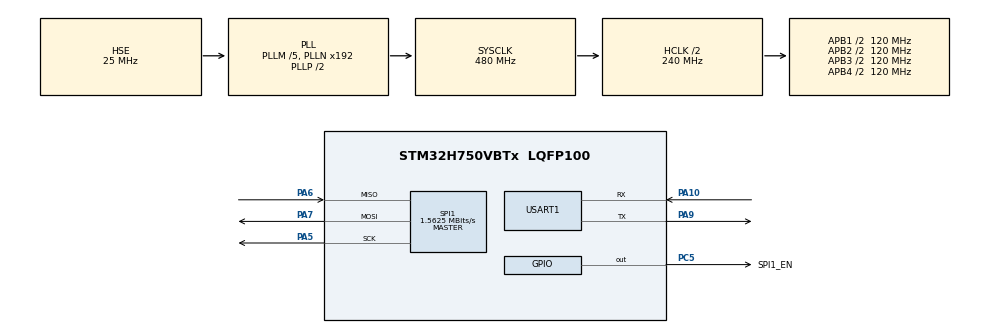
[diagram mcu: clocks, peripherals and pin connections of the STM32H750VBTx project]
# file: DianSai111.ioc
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Dma.Request0=USART1_RX
Dma.Request1=USART1_TX
Dma.USART1_RX.0.Direction=DMA_PERIPH_TO_MEMORY
Dma.USART1_RX.0.EventEnable=DISABLE
Dma.USART1_RX.0.FIFOMode=DMA_FIFOMODE_DISABLE
Dma.USART1_RX.0.Instance=DMA1_Stream0
Dma.USART1_RX.0.MemDataAlignment=DMA_MDATAALIGN_BYTE
Dma.USART1_RX.0.MemInc=DMA_MINC_ENABLE
Dma.USART1_RX.0.Mode=DMA_NORMAL
Dma.USART1_RX.0.PeriphDataAlignment=DMA_PDATAALIGN_BYTE
Dma.USART1_RX.0.PeriphInc=DMA_PINC_DISABLE
Dma.USART1_RX.0.Polarity=HAL_DMAMUX_REQ_GEN_RISING
Dma.USART1_RX.0.Priority=DMA_PRIORITY_LOW
Dma.USART1_RX.0.RequestNumber=1
Dma.USART1_RX.0.SignalID=NONE
Dma.USART1_RX.0.SyncEnable=DISABLE
Dma.USART1_RX.0.SyncPolarity=HAL_DMAMUX_SYNC_NO_EVENT
Dma.USART1_RX.0.SyncRequestNumber=1
Dma.USART1_RX.0.SyncSignalID=NONE
Dma.USART1_TX.1.Direction=DMA_MEMORY_TO_PERIPH
Dma.USART1_TX.1.EventEnable=DISABLE
Dma.USART1_TX.1.FIFOMode=DMA_FIFOMODE_DISABLE
Dma.USART1_TX.1.Instance=DMA1_Stream1
Dma.USART1_TX.1.MemDataAlignment=DMA_MDATAALIGN_BYTE
Dma.USART1_TX.1.MemInc=DMA_MINC_ENABLE
Dma.USART1_TX.1.Mode=DMA_NORMAL
Dma.USART1_TX.1.PeriphDataAlignment=DMA_PDATAALIGN_BYTE
Dma.USART1_TX.1.PeriphInc=DMA_PINC_DISABLE
Dma.USART1_TX.1.Polarity=HAL_DMAMUX_REQ_GEN_RISING
Dma.USART1_TX.1.Priority=DMA_PRIORITY_LOW
Dma.USART1_TX.1.RequestNumber=1
Dma.USART1_TX.1.SignalID=NONE
Dma.USART1_TX.1.SyncEnable=DISABLE
Dma.USART1_TX.1.SyncPolarity=HAL_DMAMUX_SYNC_NO_EVENT
Dma.USART1_TX.1.SyncRequestNumber=1
Dma.USART1_TX.1.SyncSignalID=NONE
Mcu.Family=STM32H7
Mcu.Name=STM32H750VBTx
Mcu.Package=LQFP100
NVIC.DMA1_Stream0_IRQn=true\:14\:0\:true\:false\:true\:false\:true\:true
NVIC.DMA1_Stream1_IRQn=true\:0\:0\:false\:false\:true\:false\:true\:true
NVIC.PriorityGroup=NVIC_PRIORITYGROUP_4
NVIC.USART1_IRQn=true\:0\:0\:false\:false\:true\:true\:true\:true
PA10.Mode=Asynchronous
PA10.Signal=USART1_RX
PA13\ (JTMS/SWDIO).Mode=Serial_Wire
PA13\ (JTMS/SWDIO).Signal=DEBUG_JTMS-SWDIO
PA14\ (JTCK/SWCLK).Mode=Serial_Wire
PA14\ (JTCK/SWCLK).Signal=DEBUG_JTCK-SWCLK
PA5.Mode=Full_Duplex_Master
PA5.Signal=SPI1_SCK
PA6.Mode=Full_Duplex_Master
PA6.Signal=SPI1_MISO
PA7.Mode=Full_Duplex_Master
PA7.Signal=SPI1_MOSI
PA9.Mode=Asynchronous
PA9.Signal=USART1_TX
PC5.GPIO_Label=SPI1_EN
PC5.GPIO_PuPd=GPIO_PULLUP
PC5.GPIO_Speed=GPIO_SPEED_FREQ_LOW
PC5.PinState=GPIO_PIN_SET
PC5.Signal=GPIO_Output
PH0-OSC_IN\ (PH0).Mode=HSE-External-Oscillator
PH0-OSC_IN\ (PH0).Signal=RCC_OSC_IN
PH1-OSC_OUT\ (PH1).Mode=HSE-External-Oscillator
PH1-OSC_OUT\ (PH1).Signal=RCC_OSC_OUT
ProjectManager.HeapSize=0x200
ProjectManager.StackSize=0x400
ProjectManager.TargetToolchain=MDK-ARM V5.32
RCC.ADCFreq_Value=100000000
RCC.APB1Freq_Value=120000000
RCC.APB2Freq_Value=120000000
RCC.APB3Freq_Value=120000000
RCC.APB4Freq_Value=120000000
RCC.CortexFreq_Value=480000000
RCC.D1PPRE=RCC_APB3_DIV2
RCC.D2PPRE1=RCC_APB1_DIV2
RCC.D2PPRE2=RCC_APB2_DIV2
RCC.D3PPRE=RCC_APB4_DIV2
RCC.DIVM1=5
RCC.DIVM2=16
RCC.DIVN1=192
RCC.DIVN2=128
RCC.HCLKFreq_Value=240000000
RCC.HPRE=RCC_HCLK_DIV2
RCC.PLL2FRACN=0
RCC.PLL3FRACN=0
RCC.PLLFRACN=0
RCC.PLLSourceVirtual=RCC_PLLSOURCE_HSE
RCC.SPI123CLockSelection=RCC_SPI123CLKSOURCE_PLL2
RCC.SYSCLKFreq_VALUE=480000000
RCC.SYSCLKSource=RCC_SYSCLKSOURCE_PLLCLK
RCC.USBFreq_Value=480000000
SPI1.BaudRatePrescaler=SPI_BAUDRATEPRESCALER_64
SPI1.CalculateBaudRate=1.5625 MBits/s
SPI1.DataSize=SPI_DATASIZE_16BIT
SPI1.Direction=SPI_DIRECTION_2LINES
SPI1.Mode=SPI_MODE_MASTER
SPI1.VirtualType=VM_MASTER
USART1.VirtualMode-Asynchronous=VM_ASYNC
VP_MEMORYMAP_VS_MEMORYMAP.Mode=CurAppReg
board=custom

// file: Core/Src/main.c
/* USER CODE BEGIN Header */
/**
  ******************************************************************************
  * @file           : main.c
  * @brief          : Main program body
  ******************************************************************************
  * @attention
  *
  * Copyright (c) 2025 STMicroelectronics.
  * All rights reserved.
  *
  * This software is licensed under terms that can be found in the LICENSE file
  * in the root directory of this software component.
  * If no LICENSE file comes with this software, it is provided AS-IS.
  *
  ******************************************************************************
  */
/* USER CODE END Header */
#include "main.h"

/* USER CODE BEGIN Includes */
#include "stdio.h"
#include "stdbool.h"
#include <string.h>

#include "invfreqs_stm32.c"
/* USER CODE END Includes */

SPI_HandleTypeDef hspi1;

UART_HandleTypeDef huart1;
DMA_HandleTypeDef hdma_usart1_rx;
DMA_HandleTypeDef hdma_usart1_tx;

void SystemClock_Config(void);
static void MX_GPIO_Init(void);
static void MX_DMA_Init(void);
static void MX_USART1_UART_Init(void);
static void MX_SPI1_Init(void);
/* USER CODE BEGIN PFP */

#define M_PI 3.14159265358979323846
/* USER CODE END PFP */

/* USER CODE BEGIN 0 */
double unwrap_deg(double deg1, double deg2) {
    double delta = deg2 - deg1;
    while (delta > 180.0) delta -= 360.0;
    while (delta < -180.0) delta += 360.0;
    return delta;
}

volatile uint8_t simulation_en = 0;
volatile double basic_freq;

// InvFreqs计算使用的数据
const double DAC_OUT_VPP = 3.7418;
const double ADC_IN_VPP = 4.04;
volatile uint16_t spi_data;

volatile double w[125];
volatile complex_double h[125];
// 幅频相频

volatile double amp_freq[125];
volatile double phase_freq[125];

volatile uint16_t invs_cnt = 0;   // 频响总数

volatile uint8_t UART_data_buf[100];

volatile int freq_out = 1000;
volatile float amp_out = 1.0f;

// 系统标定值
const float biaoding_values[30] = {
    0.206, 0.216, 0.229, 0.247, 0.269, 0.293, 0.320, 0.349, 0.380, 0.410,
    0.442, 0.476, 0.510, 0.546, 0.580, 0.610, 0.658, 0.697, 0.739, 0.780,
    0.810, 0.864, 0.907, 0.953, 1.0, 1.046, 1.094, 1.143, 1.191, 1.245
};

// 保存上一次的值
static int last_freq = 0;
static float last_amp = 0.0f;

// FPGA操作标志位
volatile bool freq_changed = false;    // 频率变化标志
volatile bool amp_changed = false;     // 幅值变化标志
volatile bool start_study_flag = false;// 启动学习标志

// 模式状态变量
volatile bool single_freq_output = false;  // 单频输出(a1)
volatile bool auto_gain_mode = false;   // 自动增益(b2)
volatile bool simulate_mode = false;    // 模仿模式(c3)

volatile bool single_freq_output_StatusChanged = false;  // 单频输出开关状态改变标志位
volatile bool auto_gain_mode_StatusChanged = false;   // 自动增益开关状态改变标志位
volatile bool simulate_mode_StatusChanged = false;    // 模仿模式开关状态改变标志位

void HAL_UARTEx_RxEventCallback(UART_HandleTypeDef *huart, uint16_t Size) {
    if (huart == &huart1) {
        // 1. 检测开始学习命令(AA AA AA AA)
        if (Size >= 4) {
            bool is_study_cmd = true;
            for (int i = 0; i < 4; i++) {
                if (UART_data_buf[i] != 0xAA) {
                    is_study_cmd = false;
                    break;
                }
            }
            if (is_study_cmd) {
                start_study_flag = true;
                memset(UART_data_buf, 0, 100);
                HAL_UARTEx_ReceiveToIdle_DMA(&huart1,UART_data_buf, 100);
                return;
            }
        }

        // 2. 检测模式控制命令(6字节固定格式)
        if (Size == 6) {
            // 单频输出控制(A1开头结尾)
            if (UART_data_buf[0] == 0xA1 && UART_data_buf[5] == 0xA1) {
                single_freq_output = (UART_data_buf[1] == 0x01);
                single_freq_output_StatusChanged=1;//标志位
            }
            // 自动增益控制(B2开头结尾)
            else if (UART_data_buf[0] == 0xB2 && UART_data_buf[5] == 0xB2) {
                auto_gain_mode = (UART_data_buf[1] == 0x01);
                auto_gain_mode_StatusChanged=1;//标志位
            }
            // 模仿模式控制(C3开头结尾)
            else if (UART_data_buf[0] == 0xC3 && UART_data_buf[5] == 0xC3) {
                simulate_mode = (UART_data_buf[1] == 0x01);
                simulate_mode_StatusChanged=1;//标志位
            }
        }

        // 3. 解析频率和幅值(保留原有AD帧头逻辑)
        int current_freq = 0;
        float current_amp = 0.0f;
        int decode_status = decode_uart(UART_data_buf, Size, &current_freq, &current_amp);

        if (decode_status == 1) {
            // 检测频率变化
            if (current_freq != last_freq) {
                freq_out = current_freq;
                last_freq = current_freq;
                freq_changed = true;
            }

            // 检测幅值变化
            if (fabs(current_amp - last_amp) > 0.05f) {
                amp_out = current_amp;
                last_amp = current_amp;
                amp_changed = true;
            }
        }

        // 重新启动DMA接收
        memset(UART_data_buf, 0, 100);
        HAL_UARTEx_ReceiveToIdle_DMA(&huart1, (uint8_t *)UART_data_buf, 100);
    }
}

// 发送模式状态到串口屏
void send_mode_status() {
    uint8_t buf[6];

    // 单频输出状态(A1 01/00 00 00 00 A1)
    buf[0] = 0xA1;
    buf[1] = single_freq_output ? 0x01 : 0x00;
    buf[2] = 0x00;
    buf[3] = 0x00;
    buf[4] = 0x00;
    buf[5] = 0xA1;
    HAL_UART_Transmit(&huart1, buf, 6, 10);

    // 自动增益状态(B2 01/00 00 00 00 B2)
    buf[0] = 0xB2;
    buf[1] = auto_gain_mode ? 0x01 : 0x00;
    buf[5] = 0xB2;
    HAL_UART_Transmit(&huart1, buf, 6, 10);

    // 模仿模式状态(C3 01/00 00 00 00 C3)
    buf[0] = 0xC3;
    buf[1] = simulate_mode ? 0x01 : 0x00;
    buf[5] = 0xC3;
    HAL_UART_Transmit(&huart1, buf, 6, 10);
}

int decode_uart(uint8_t *uart_buf, uint16_t buf_len, int *current_freq, float *current_amp) {
    if (uart_buf == NULL || current_freq == NULL || current_amp == NULL) {
        return 0;
    }

    // 保留原有AD帧头解析逻辑(频率和幅值)
    uint8_t ad_header[4] = {0xAD, 0xAD, 0xAD, 0xAD};
    if (buf_len >= 12) {
        for (uint16_t i = 0; i <= buf_len - 12; i++) {
            if (memcmp(&uart_buf[i], ad_header, 4) == 0) {
                // 解析频率(4字节小端)
                uint32_t freq_raw = (uint32_t)uart_buf[i+4] |
                                   ((uint32_t)uart_buf[i+5] << 8) |
                                   ((uint32_t)uart_buf[i+6] << 16) |
                                   ((uint32_t)uart_buf[i+7] << 24);

                // 解析幅值(4字节小端)
                uint32_t amp_raw = (uint32_t)uart_buf[i+8] |
                                  ((uint32_t)uart_buf[i+9] << 8) |
                                  ((uint32_t)uart_buf[i+10] << 16) |
                                  ((uint32_t)uart_buf[i+11] << 24);

                *current_freq = (int)freq_raw;
                *current_amp = (float)amp_raw / 10.0f;

                return 1;
            }
        }
    }

    return 0;
}

int send_data(const char* str_b0, const char* str_b1,
                          const char* str_b2, const char* str_a1, const char* str_a2) {
    uint8_t uart_send_buf[256];
    size_t buf_offset = 0;
    int write_len;

    write_len = sprintf((char*)(uart_send_buf + buf_offset), "para1.txt=\"b0=%s\"", str_b0);
    if (write_len < 0) return -2;
    buf_offset += write_len;
    if (buf_offset + 3 > sizeof(uart_send_buf)) return -2;
    uart_send_buf[buf_offset++] = 0xFF;
    uart_send_buf[buf_offset++] = 0xFF;
    uart_send_buf[buf_offset++] = 0xFF;

    write_len = sprintf((char*)(uart_send_buf + buf_offset), "para2.txt=\"b1=%s\"", str_b1);
    if (write_len < 0) return -2;
    buf_offset += write_len;
    if (buf_offset + 3 > sizeof(uart_send_buf)) return -2;
    uart_send_buf[buf_offset++] = 0xFF;
    uart_send_buf[buf_offset++] = 0xFF;
    uart_send_buf[buf_offset++] = 0xFF;

    write_len = sprintf((char*)(uart_send_buf + buf_offset), "para3.txt=\"b2=%s\"", str_b2);
    if (write_len < 0) return -2;
    buf_offset += write_len;
    if (buf_offset + 3 > sizeof(uart_send_buf)) return -2;
    uart_send_buf[buf_offset++] = 0xFF;
    uart_send_buf[buf_offset++] = 0xFF;
    uart_send_buf[buf_offset++] = 0xFF;

    write_len = sprintf((char*)(uart_send_buf + buf_offset), "para4.txt=\"a1=%s\"", str_a1);
    if (write_len < 0) return -2;
    buf_offset += write_len;
    if (buf_offset + 3 > sizeof(uart_send_buf)) return -2;
    uart_send_buf[buf_offset++] = 0xFF;
    uart_send_buf[buf_offset++] = 0xFF;
    uart_send_buf[buf_offset++] = 0xFF;

    write_len = sprintf((char*)(uart_send_buf + buf_offset), "para5.txt=\"a2=%s\"", str_a2);
    if (write_len < 0) return -2;
    buf_offset += write_len;
    if (buf_offset + 3 > sizeof(uart_send_buf)) return -2;
    uart_send_buf[buf_offset++] = 0xFF;
    uart_send_buf[buf_offset++] = 0xFF;
    uart_send_buf[buf_offset++] = 0xFF;

    if (HAL_UART_Transmit(&huart1, uart_send_buf, buf_offset, 1000) != HAL_OK) {
        return -3;
    }

    return 0;
}
/* USER CODE END 0 */

int main(void)
{

  /* MCU Configuration--------------------------------------------------------*/

  /* Reset of all peripherals, Initializes the Flash interface and the Systick. */
  HAL_Init();

  /* Configure the system clock */
  SystemClock_Config();

  /* Initialize all configured peripherals */
  MX_GPIO_Init();
  MX_DMA_Init();
  MX_USART1_UART_Init();
  MX_SPI1_Init();
  /* USER CODE BEGIN 2 */
  // 拉高使能引脚
  HAL_GPIO_WritePin(SPI1_EN_GPIO_Port, SPI1_EN_Pin, GPIO_PIN_SET);
  uint8_t simulation_mode_ready_quit = 0;
  /* USER CODE END 2 */

  /* Infinite loop */
  /* USER CODE BEGIN WHILE */

	HAL_UARTEx_ReceiveToIdle_DMA(&huart1,(uint8_t *)UART_data_buf,100);

  while (1)
  {
		// 在main函数中处理FPGA相关操作
    if (freq_changed || amp_changed || single_freq_output_StatusChanged || auto_gain_mode_StatusChanged) {
        // *************************** 通知FPGA单频输出变化 ***************************//
        // 开始通信
        spi_data = 0x0001;
        HAL_GPIO_WritePin(SPI1_EN_GPIO_Port, SPI1_EN_Pin, GPIO_PIN_RESET);
        HAL_SPI_Transmit(&hspi1, (uint8_t*)&spi_data, 1, HAL_MAX_DELAY);
        HAL_GPIO_WritePin(SPI1_EN_GPIO_Port, SPI1_EN_Pin, GPIO_PIN_SET);
        // 发送目标标志位和幅度信息
        spi_data = 0;
        double transfer_value = 1;
        if (auto_gain_mode) transfer_value = biaoding_values[freq_out/100-1];
        uint16_t fixed_point = (uint16_t)roundf(amp_out*transfer_value * (1 << 13));
        fixed_point &= 0x7FFF;
        spi_data = (single_freq_output ? 0x8000 : 0x0000) | fixed_point;
        HAL_GPIO_WritePin(SPI1_EN_GPIO_Port, SPI1_EN_Pin, GPIO_PIN_RESET);
        HAL_SPI_Transmit(&hspi1, (uint8_t*)&spi_data, 1, HAL_MAX_DELAY);
        HAL_GPIO_WritePin(SPI1_EN_GPIO_Port, SPI1_EN_Pin, GPIO_PIN_SET);
        // 发送目标频率信息
        spi_data = (uint16_t)(freq_out / 25);
        HAL_GPIO_WritePin(SPI1_EN_GPIO_Port, SPI1_EN_Pin, GPIO_PIN_RESET);
        HAL_SPI_Transmit(&hspi1, (uint8_t*)&spi_data, 1, HAL_MAX_DELAY);
        HAL_GPIO_WritePin(SPI1_EN_GPIO_Port, SPI1_EN_Pin, GPIO_PIN_SET);
        // 结束通信
        spi_data = 0x0000;
        HAL_GPIO_WritePin(SPI1_EN_GPIO_Port, SPI1_EN_Pin, GPIO_PIN_RESET);
        HAL_SPI_Transmit(&hspi1, (uint8_t*)&spi_data, 1, HAL_MAX_DELAY);
        HAL_GPIO_WritePin(SPI1_EN_GPIO_Port, SPI1_EN_Pin, GPIO_PIN_SET);
        // 清除标志位
        freq_changed = false;
        amp_changed = false;
        single_freq_output_StatusChanged = false;
        auto_gain_mode_StatusChanged = false;
    }

		char studying_string[]="loading.aph=127\xff\xff\xffhook.aph=0\xff\xff\xff";
		char study_funished_string[]="loading.aph=0\xff\xff\xffhook.aph=127\xff\xff\xff";

      if (start_study_flag) {
          // 先通知fpga开始学习
          spi_data = 0x0002;  // 16位数据，只最低2位为1
          HAL_GPIO_WritePin(SPI1_EN_GPIO_Port, SPI1_EN_Pin, GPIO_PIN_RESET);
          HAL_SPI_Transmit(&hspi1, (uint8_t*)&spi_data, 1, HAL_MAX_DELAY);
          HAL_GPIO_WritePin(SPI1_EN_GPIO_Port, SPI1_EN_Pin, GPIO_PIN_SET);
          // 修改屏幕图标到繁忙
          HAL_UART_Transmit(&huart1, (uint8_t*)&studying_string,sizeof(studying_string)-1,10);
          // 等待fpga写准备
          while (1) {
            HAL_GPIO_WritePin(SPI1_EN_GPIO_Port, SPI1_EN_Pin, GPIO_PIN_RESET);
            HAL_SPI_Receive(&hspi1, (uint8_t*)&spi_data, 1, HAL_MAX_DELAY);
            HAL_GPIO_WritePin(SPI1_EN_GPIO_Port, SPI1_EN_Pin, GPIO_PIN_SET);
            // 收到0xF002说明fpga已经完成扫频，可进行数据传输
            if (spi_data == 0xF002) break;
            HAL_Delay(1);
          }

          // 开始接受FPGA返回的数据
          invs_cnt = 0;
          while (1){
            // 接受频率
            HAL_GPIO_WritePin(SPI1_EN_GPIO_Port, SPI1_EN_Pin, GPIO_PIN_RESET);
            HAL_SPI_Receive(&hspi1, (uint8_t*)&spi_data, 1, HAL_MAX_DELAY);
            HAL_GPIO_WritePin(SPI1_EN_GPIO_Port, SPI1_EN_Pin, GPIO_PIN_SET);
            // 频率收到0xFFFD退出
            if (spi_data == 0xFFFD) break;
            // 处理频率
            double freq = spi_data*100.0;
            w[invs_cnt] = freq * 2 * M_PI;

            // 接受幅频
            HAL_GPIO_WritePin(SPI1_EN_GPIO_Port, SPI1_EN_Pin, GPIO_PIN_RESET);
            HAL_SPI_Receive(&hspi1, (uint8_t*)&spi_data, 1, HAL_MAX_DELAY);
            HAL_GPIO_WritePin(SPI1_EN_GPIO_Port, SPI1_EN_Pin, GPIO_PIN_SET);
            // 处理幅度
            double amp = (double)spi_data * ADC_IN_VPP / DAC_OUT_VPP / 255;
            // 接受相频
            HAL_GPIO_WritePin(SPI1_EN_GPIO_Port, SPI1_EN_Pin, GPIO_PIN_RESET);
            HAL_SPI_Receive(&hspi1, (uint8_t*)&spi_data, 1, HAL_MAX_DELAY);
            HAL_GPIO_WritePin(SPI1_EN_GPIO_Port, SPI1_EN_Pin, GPIO_PIN_SET);
            // 对于幅度逼近0的情况，相位无效，丢弃此频点
            if (amp < 0.0001) continue;
            // 处理相位
            double phase_rad = (double)(int16_t)spi_data/(1 << 13)/M_PI*180.0;
            amp_freq[invs_cnt] = amp;
            // 标定的系统相移
            double delta_phase = freq * 0.000202;
            if (delta_phase > 180) delta_phase = delta_phase-360;
            phase_rad += delta_phase;
            // 设置回180度以内
            if (phase_rad > 180) phase_rad -= 360;
            if (phase_rad < -180) phase_rad+=360;
            // 执行两遍
            if (phase_rad > 180) phase_rad -= 360;
            if (phase_rad < -180) phase_rad+=360;

            phase_freq[invs_cnt] = phase_rad;

            // 复频响
            h[invs_cnt].real = cos(phase_rad*M_PI/180) * amp;
            h[invs_cnt].imag = sin(phase_rad*M_PI/180) * amp;

            invs_cnt += 1;
          }
          // 结束通信
          spi_data = 0x0000;
          HAL_GPIO_WritePin(SPI1_EN_GPIO_Port, SPI1_EN_Pin, GPIO_PIN_RESET);
          HAL_SPI_Transmit(&hspi1, (uint8_t*)&spi_data, 1, HAL_MAX_DELAY);
          HAL_GPIO_WritePin(SPI1_EN_GPIO_Port, SPI1_EN_Pin, GPIO_PIN_SET);

          // 计算InvFreqs
          complex_double b_coeffs[3];
          complex_double a_coeffs[3];
          invfreqs_stm32(h, w, invs_cnt, b_coeffs, a_coeffs);

          // 转为字符串发送
          char real_str1[64];
          char real_str2[64];
          char real_str3[64];
          char real_str4[64];
          char real_str5[64];

          // 将实部转换为科学计数法字符串
          snprintf(real_str1, sizeof(real_str1), "%.2e", b_coeffs[0].real);
          snprintf(real_str2, sizeof(real_str2), "%.2e", b_coeffs[1].real);
          snprintf(real_str3, sizeof(real_str3), "%.2e", b_coeffs[2].real);
          snprintf(real_str4, sizeof(real_str4), "%.2e", a_coeffs[1].real);
          snprintf(real_str5, sizeof(real_str5), "%.2e", a_coeffs[2].real);
          send_data(real_str1,real_str2,real_str3,real_str4,real_str5);
          // 修改屏幕图标到完成
          HAL_UART_Transmit(&huart1,(uint8_t*)study_funished_string,sizeof(study_funished_string)-1,10);

          // 滤波器类型判断
          // t11带阻，t10带通，t9低通，t8高通
          uint8_t DaiZu[] = "vis t11,1\xff\xff\xff";
          uint8_t DaiTong[] = "vis t10,1\xff\xff\xff";
          uint8_t DiTong[] ="vis t9,1\xff\xff\xff";
          uint8_t GaoTong[]="vis t8,1\xff\xff\xff";
					uint8_t weizhi[]="vis t14,1\xff\xff\xff";
          // 判断标志位
          uint8_t start_pass = 0; // 低频有通带
          uint8_t start_stop = 0; // 低频有阻带
          uint8_t start_rise = 0; // 低频有上升趋势
          uint8_t start_drop = 0; // 低频有下降趋势
          uint8_t end_pass   = 0; // 高频有通带
          uint8_t end_stop   = 0; // 高频有阻带
          uint8_t end_rise   = 0; // 高频有上升趋势
          uint8_t end_drop   = 0; // 高频有下降趋势
          uint8_t middle_stop= 0; // 中间存在明显尖峰
          uint8_t middle_pass= 0; // 中间存在明显尖峰
          // 计算标志位
          double start_1st = (amp_freq[0]+amp_freq[1]+amp_freq[2])/3;
          double start_2nd = (amp_freq[5]+amp_freq[6]+amp_freq[7])/3;
          double end_1st = (amp_freq[invs_cnt-1]+amp_freq[invs_cnt-2]+amp_freq[invs_cnt-3])/3;
          double end_2nd = (amp_freq[invs_cnt-6]+amp_freq[invs_cnt-7]+amp_freq[invs_cnt-8])/3;
          if (start_1st > 0.5) start_pass = 1;
          if (start_1st < 0.15) start_stop = 1;
          if (start_2nd / start_1st > 1.05) start_rise = 1;
          if (start_1st / start_2nd > 1.05) start_drop = 1;
          if (end_1st > 0.5) end_pass = 1;
          if (end_1st < 0.15) end_stop = 1;
          if (end_2nd / end_1st > 1.05) end_drop = 1;
          if (end_1st / end_2nd > 1.05) end_rise = 1;
          for (int i=15; i<invs_cnt-18; i+=1){
            double amp_middle = (amp_freq[i]+amp_freq[i+1]+amp_freq[i+2])/3;
            double amp_left = (amp_freq[i-10]+amp_freq[i-10+1]+amp_freq[i-10+2])/3;
            double amp_right = (amp_freq[i+10]+amp_freq[i+10+1]+amp_freq[i+10+2])/3;
            if ((amp_middle/amp_left>1.05) && (amp_middle/amp_right>1.05)) middle_pass = 1;
            if ((amp_middle/amp_left<0.95) && (amp_middle/amp_right<0.95)) middle_stop = 1;
          }
          // 根据标志位判断滤波器类型
          // 如果低频存在阻带/低频在上升，那么是高通或者带通
          if ((start_stop||start_rise)){
            // 如果高频存在阻带/高频在下降/中频存在尖峰三个条件满足2个以上，那么就是带通，否则就认为是高通
            if (end_stop*2+end_drop+middle_pass >= 2) HAL_UART_Transmit(&huart1, DaiTong, sizeof(DaiTong), 10);
            else HAL_UART_Transmit(&huart1,GaoTong, sizeof(GaoTong), 10);
          }
          // 否则在低通和带阻间决策
          else {
            if (end_pass*2+end_rise+middle_stop >= 2) HAL_UART_Transmit(&huart1, DaiZu, sizeof(DaiZu), 10);
            else HAL_UART_Transmit(&huart1, DiTong, sizeof(DiTong), 10);
          }
          start_study_flag = false;
      }

      if(simulate_mode_StatusChanged){
        // 进入模拟状态立即执行
        if (simulate_mode) {
          spi_data = 0x0004;
          simulation_en = 1;
          simulation_mode_ready_quit = 0;
          HAL_GPIO_WritePin(SPI1_EN_GPIO_Port, SPI1_EN_Pin, GPIO_PIN_RESET);
          HAL_SPI_Transmit(&hspi1, (uint8_t*)&spi_data, 1, HAL_MAX_DELAY);
          HAL_GPIO_WritePin(SPI1_EN_GPIO_Port, SPI1_EN_Pin, GPIO_PIN_SET);
        }
        // 退出模拟状态则设置标志位，
        else simulation_mode_ready_quit=1;

        simulate_mode_StatusChanged = false;
      }

    // simulate_mode维持的事务
    if (simulation_en) {
      HAL_Delay(19);
      // 先询问频率计频率
      HAL_GPIO_WritePin(SPI1_EN_GPIO_Port, SPI1_EN_Pin, GPIO_PIN_RESET);
      HAL_SPI_Receive(&hspi1, (uint8_t*)&spi_data, 1, HAL_MAX_DELAY);
      HAL_GPIO_WritePin(SPI1_EN_GPIO_Port, SPI1_EN_Pin, GPIO_PIN_SET);
      basic_freq = spi_data*100.0/2;

      // 检测是否要停止
      if (simulation_mode_ready_quit) {
        simulation_en = 0;
        spi_data=0xF008;
      }
      else spi_data = 0xF004;

      HAL_GPIO_WritePin(SPI1_EN_GPIO_Port, SPI1_EN_Pin, GPIO_PIN_RESET);
      HAL_SPI_Transmit(&hspi1, (uint8_t*)&spi_data, 1, HAL_MAX_DELAY);
      HAL_GPIO_WritePin(SPI1_EN_GPIO_Port, SPI1_EN_Pin, GPIO_PIN_SET);
    }
    if (simulation_en){
      // 计算10个频点的IQ
      for (int i=0; i<11; i++){
        double w_now = basic_freq*(i+1)*2*M_PI;
        // 找到离w_now最近的频率低于w_now的位置j，算出多余频率在频段中的位置（0-1归一化表示）
        uint16_t j=0;
        while (1) {
            if (w[j+1] > w_now) break;
            j += 1;
            if (j>=124) break;
        }
        double dis = (w_now-w[j])/(w[j+1]-w[j]);
        // 线性拟合Amp和Phase
        double amp_now =    amp_freq[j] +     (amp_freq[j+1]-amp_freq[j])     * dis;
        double delta_phase = unwrap_deg(phase_freq[j], phase_freq[j+1]);
        double phase_now = phase_freq[j] + delta_phase * dis;
        // 计算IQ
        double I = (amp_now*255*1.18)*cos(phase_now * M_PI/180);
        double Q = (amp_now*255*1.18)*sin(phase_now * M_PI/180);
        // 发送
        int16_t int_part_I = (int16_t)I;  // 取整数部分
        uint16_t signed10bit_I = ((uint16_t)(int_part_I & 0x03FF));   // 取低10位

        int16_t int_part_Q = (int16_t)Q;  // 取整数部分
        uint16_t signed10bit_Q = ((uint16_t)(int_part_Q & 0x03FF));   // 取低10位

        uint16_t high4 = ((uint16_t)(i & 0x0F)) << 12;            // 高4位为i
        spi_data = high4 | signed10bit_I;                       // 拼装
        HAL_GPIO_WritePin(SPI1_EN_GPIO_Port, SPI1_EN_Pin, GPIO_PIN_RESET);
        HAL_SPI_Transmit(&hspi1, (uint8_t*)&spi_data, 1, HAL_MAX_DELAY);
        HAL_GPIO_WritePin(SPI1_EN_GPIO_Port, SPI1_EN_Pin, GPIO_PIN_SET);
        spi_data = high4 | signed10bit_Q;                       // 拼装
        HAL_GPIO_WritePin(SPI1_EN_GPIO_Port, SPI1_EN_Pin, GPIO_PIN_RESET);
        HAL_SPI_Transmit(&hspi1, (uint8_t*)&spi_data, 1, HAL_MAX_DELAY);
        HAL_GPIO_WritePin(SPI1_EN_GPIO_Port, SPI1_EN_Pin, GPIO_PIN_SET);
      }
    }
  }

    /* USER CODE END WHILE */

}

void SystemClock_Config(void)
{
  RCC_OscInitTypeDef RCC_OscInitStruct = {0};
  RCC_ClkInitTypeDef RCC_ClkInitStruct = {0};

  /** Supply configuration update enable
  */
  HAL_PWREx_ConfigSupply(PWR_LDO_SUPPLY);

  /** Configure the main internal regulator output voltage
  */
  __HAL_PWR_VOLTAGESCALING_CONFIG(PWR_REGULATOR_VOLTAGE_SCALE0);

  while(!__HAL_PWR_GET_FLAG(PWR_FLAG_VOSRDY)) {}

  /** Initializes the RCC Oscillators according to the specified parameters
  * in the RCC_OscInitTypeDef structure.
  */
  RCC_OscInitStruct.OscillatorType = RCC_OSCILLATORTYPE_HSE;
  RCC_OscInitStruct.HSEState = RCC_HSE_ON;
  RCC_OscInitStruct.PLL.PLLState = RCC_PLL_ON;
  RCC_OscInitStruct.PLL.PLLSource = RCC_PLLSOURCE_HSE;
  RCC_OscInitStruct.PLL.PLLM = 5;
  RCC_OscInitStruct.PLL.PLLN = 192;
  RCC_OscInitStruct.PLL.PLLP = 2;
  RCC_OscInitStruct.PLL.PLLQ = 2;
  RCC_OscInitStruct.PLL.PLLR = 2;
  RCC_OscInitStruct.PLL.PLLRGE = RCC_PLL1VCIRANGE_2;
  RCC_OscInitStruct.PLL.PLLVCOSEL = RCC_PLL1VCOWIDE;
  RCC_OscInitStruct.PLL.PLLFRACN = 0;
  if (HAL_RCC_OscConfig(&RCC_OscInitStruct) != HAL_OK)
  {
    Error_Handler();
  }

  /** Initializes the CPU, AHB and APB buses clocks
  */
  RCC_ClkInitStruct.ClockType = RCC_CLOCKTYPE_HCLK|RCC_CLOCKTYPE_SYSCLK
                              |RCC_CLOCKTYPE_PCLK1|RCC_CLOCKTYPE_PCLK2
                              |RCC_CLOCKTYPE_D3PCLK1|RCC_CLOCKTYPE_D1PCLK1;
  RCC_ClkInitStruct.SYSCLKSource = RCC_SYSCLKSOURCE_PLLCLK;
  RCC_ClkInitStruct.SYSCLKDivider = RCC_SYSCLK_DIV1;
  RCC_ClkInitStruct.AHBCLKDivider = RCC_HCLK_DIV2;
  RCC_ClkInitStruct.APB3CLKDivider = RCC_APB3_DIV2;
  RCC_ClkInitStruct.APB1CLKDivider = RCC_APB1_DIV2;
  RCC_ClkInitStruct.APB2CLKDivider = RCC_APB2_DIV2;
  RCC_ClkInitStruct.APB4CLKDivider = RCC_APB4_DIV2;

  if (HAL_RCC_ClockConfig(&RCC_ClkInitStruct, FLASH_LATENCY_4) != HAL_OK)
  {
    Error_Handler();
  }
}

static void MX_SPI1_Init(void)
{

  /* SPI1 parameter configuration*/
  hspi1.Instance = SPI1;
  hspi1.Init.Mode = SPI_MODE_MASTER;
  hspi1.Init.Direction = SPI_DIRECTION_2LINES;
  hspi1.Init.DataSize = SPI_DATASIZE_16BIT;
  hspi1.Init.CLKPolarity = SPI_POLARITY_LOW;
  hspi1.Init.CLKPhase = SPI_PHASE_1EDGE;
  hspi1.Init.NSS = SPI_NSS_SOFT;
  hspi1.Init.BaudRatePrescaler = SPI_BAUDRATEPRESCALER_64;
  hspi1.Init.FirstBit = SPI_FIRSTBIT_MSB;
  hspi1.Init.TIMode = SPI_TIMODE_DISABLE;
  hspi1.Init.CRCCalculation = SPI_CRCCALCULATION_DISABLE;
  hspi1.Init.CRCPolynomial = 0x0;
  hspi1.Init.NSSPMode = SPI_NSS_PULSE_ENABLE;
  hspi1.Init.NSSPolarity = SPI_NSS_POLARITY_LOW;
  hspi1.Init.FifoThreshold = SPI_FIFO_THRESHOLD_01DATA;
  hspi1.Init.TxCRCInitializationPattern = SPI_CRC_INITIALIZATION_ALL_ZERO_PATTERN;
  hspi1.Init.RxCRCInitializationPattern = SPI_CRC_INITIALIZATION_ALL_ZERO_PATTERN;
  hspi1.Init.MasterSSIdleness = SPI_MASTER_SS_IDLENESS_00CYCLE;
  hspi1.Init.MasterInterDataIdleness = SPI_MASTER_INTERDATA_IDLENESS_00CYCLE;
  hspi1.Init.MasterReceiverAutoSusp = SPI_MASTER_RX_AUTOSUSP_DISABLE;
  hspi1.Init.MasterKeepIOState = SPI_MASTER_KEEP_IO_STATE_DISABLE;
  hspi1.Init.IOSwap = SPI_IO_SWAP_DISABLE;
  if (HAL_SPI_Init(&hspi1) != HAL_OK)
  {
    Error_Handler();
  }

}

static void MX_USART1_UART_Init(void)
{

  huart1.Instance = USART1;
  huart1.Init.BaudRate = 115200;
  huart1.Init.WordLength = UART_WORDLENGTH_8B;
  huart1.Init.StopBits = UART_STOPBITS_1;
  huart1.Init.Parity = UART_PARITY_NONE;
  huart1.Init.Mode = UART_MODE_TX_RX;
  huart1.Init.HwFlowCtl = UART_HWCONTROL_NONE;
  huart1.Init.OverSampling = UART_OVERSAMPLING_16;
  huart1.Init.OneBitSampling = UART_ONE_BIT_SAMPLE_DISABLE;
  huart1.Init.ClockPrescaler = UART_PRESCALER_DIV1;
  huart1.AdvancedInit.AdvFeatureInit = UART_ADVFEATURE_NO_INIT;
  if (HAL_UART_Init(&huart1) != HAL_OK)
  {
    Error_Handler();
  }
  if (HAL_UARTEx_SetTxFifoThreshold(&huart1, UART_TXFIFO_THRESHOLD_1_8) != HAL_OK)
  {
    Error_Handler();
  }
  if (HAL_UARTEx_SetRxFifoThreshold(&huart1, UART_RXFIFO_THRESHOLD_1_8) != HAL_OK)
  {
    Error_Handler();
  }
  if (HAL_UARTEx_DisableFifoMode(&huart1) != HAL_OK)
  {
    Error_Handler();
  }

}

static void MX_DMA_Init(void)
{

  /* DMA controller clock enable */
  __HAL_RCC_DMA1_CLK_ENABLE();

  /* DMA interrupt init */
  /* DMA1_Stream0_IRQn interrupt configuration */
  HAL_NVIC_SetPriority(DMA1_Stream0_IRQn, 14, 0);
  HAL_NVIC_EnableIRQ(DMA1_Stream0_IRQn);
  /* DMA1_Stream1_IRQn interrupt configuration */
  HAL_NVIC_SetPriority(DMA1_Stream1_IRQn, 0, 0);
  HAL_NVIC_EnableIRQ(DMA1_Stream1_IRQn);

}

static void MX_GPIO_Init(void)
{
  GPIO_InitTypeDef GPIO_InitStruct = {0};

  /* GPIO Ports Clock Enable */
  __HAL_RCC_GPIOH_CLK_ENABLE();
  __HAL_RCC_GPIOA_CLK_ENABLE();
  __HAL_RCC_GPIOC_CLK_ENABLE();

  /*Configure GPIO pin Output Level */
  HAL_GPIO_WritePin(SPI1_EN_GPIO_Port, SPI1_EN_Pin, GPIO_PIN_SET);

  /*Configure GPIO pin : SPI1_EN_Pin */
  GPIO_InitStruct.Pin = SPI1_EN_Pin;
  GPIO_InitStruct.Mode = GPIO_MODE_OUTPUT_PP;
  GPIO_InitStruct.Pull = GPIO_PULLUP;
  GPIO_InitStruct.Speed = GPIO_SPEED_FREQ_LOW;
  HAL_GPIO_Init(SPI1_EN_GPIO_Port, &GPIO_InitStruct);

}

void Error_Handler(void)
{
  __disable_irq();
  while (1)
  {
  }
}
